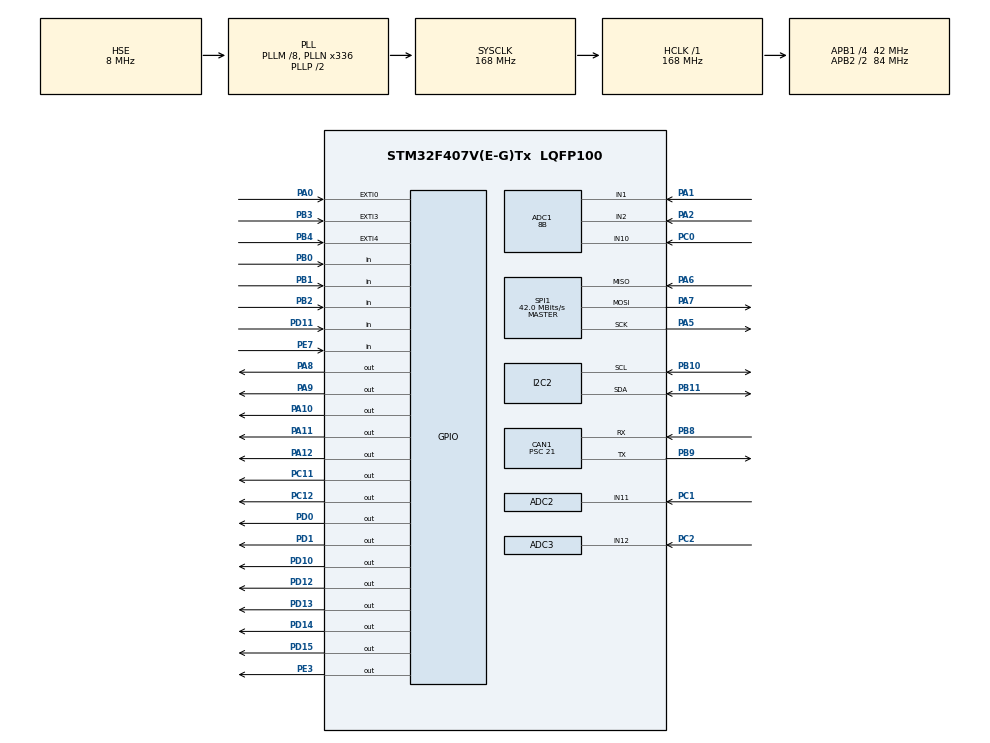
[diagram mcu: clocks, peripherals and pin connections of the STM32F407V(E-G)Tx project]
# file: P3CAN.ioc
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ADC1.Channel-0\#ChannelRegularConversion=ADC_CHANNEL_1
ADC1.ClockPrescaler=ADC_CLOCK_SYNC_PCLK_DIV4
ADC1.ContinuousConvMode=DISABLE
ADC1.DMAContinuousRequests=DISABLE
ADC1.DataAlign=ADC_DATAALIGN_RIGHT
ADC1.DiscontinuousConvMode=DISABLE
ADC1.EOCSelection=ADC_EOC_SINGLE_CONV
ADC1.EnableAnalogWatchDog=false
ADC1.ExternalTrigConv=ADC_SOFTWARE_START
ADC1.ExternalTrigConvEdge=ADC_EXTERNALTRIGCONVEDGE_NONE
ADC1.InjNumberOfConversion=0
ADC1.NbrOfConversion=1
ADC1.NbrOfConversionFlag=1
ADC1.Rank-0\#ChannelRegularConversion=1
ADC1.Resolution=ADC_RESOLUTION_8B
ADC1.SamplingTime-0\#ChannelRegularConversion=ADC_SAMPLETIME_28CYCLES
ADC1.ScanConvMode=DISABLE
ADC1.master=1
ADC2.Channel-0\#ChannelRegularConversion=ADC_CHANNEL_11
ADC2.NbrOfConversionFlag=1
ADC2.Rank-0\#ChannelRegularConversion=1
ADC2.SamplingTime-0\#ChannelRegularConversion=ADC_SAMPLETIME_3CYCLES
ADC3.Channel-0\#ChannelRegularConversion=ADC_CHANNEL_12
ADC3.NbrOfConversionFlag=1
ADC3.Rank-0\#ChannelRegularConversion=1
ADC3.SamplingTime-0\#ChannelRegularConversion=ADC_SAMPLETIME_3CYCLES
CAN1.BS1=CAN_BS1_12TQ
CAN1.BS2=CAN_BS2_4TQ
CAN1.CalculateTimeQuantum=500.0
CAN1.Prescaler=21
FREERTOS.INCLUDE_vTaskDelayUntil=1
FREERTOS.Mutexes01=mutex1,Dynamic,NULL
FREERTOS.Tasks01=Tarea1,0,128,StartTarea1,Default,NULL,Dynamic,NULL,NULL
Mcu.Family=STM32F4
Mcu.Name=STM32F407V(E-G)Tx
Mcu.Package=LQFP100
NVIC.CAN1_RX0_IRQn=true\:5\:0\:true\:false\:true\:true\:true
NVIC.EXTI0_IRQn=true\:0\:0\:true\:false\:true\:true\:true
NVIC.EXTI3_IRQn=true\:0\:0\:false\:false\:true\:false\:true
NVIC.I2C2_EV_IRQn=true\:0\:0\:false\:false\:true\:true\:true
NVIC.PriorityGroup=NVIC_PRIORITYGROUP_4
NVIC.TIM1_UP_TIM10_IRQn=true\:0\:0\:false\:false\:true\:false\:false
NVIC.TimeBase=TIM1_UP_TIM10_IRQn
NVIC.TimeBaseIP=TIM1
PA0-WKUP.Signal=GPXTI0
PA1.Signal=ADCx_IN1
PA10.Signal=GPIO_Output
PA11.Signal=GPIO_Output
PA12.Signal=GPIO_Output
PA2.Signal=ADCx_IN2
PA5.Mode=Full_Duplex_Master
PA5.Signal=SPI1_SCK
PA6.Mode=Full_Duplex_Master
PA6.Signal=SPI1_MISO
PA7.Mode=Full_Duplex_Master
PA7.Signal=SPI1_MOSI
PA8.Signal=GPIO_Output
PA9.Signal=GPIO_Output
PB0.Signal=GPIO_Input
PB1.Signal=GPIO_Input
PB10.Mode=I2C
PB10.Signal=I2C2_SCL
PB11.Mode=I2C
PB11.Signal=I2C2_SDA
PB2.Signal=GPIO_Input
PB3.Signal=GPXTI3
PB4.Signal=GPXTI4
PB8.Mode=Master
PB8.Signal=CAN1_RX
PB9.Mode=Master
PB9.Signal=CAN1_TX
PC0.Signal=ADCx_IN10
PC1.Signal=ADCx_IN11
PC11.Signal=GPIO_Output
PC12.Signal=GPIO_Output
PC2.Signal=ADCx_IN12
PD0.Signal=GPIO_Output
PD1.Signal=GPIO_Output
PD10.Signal=GPIO_Output
PD11.Signal=GPIO_Input
PD12.Signal=GPIO_Output
PD13.Signal=GPIO_Output
PD14.Signal=GPIO_Output
PD15.Signal=GPIO_Output
PE3.Signal=GPIO_Output
PE7.Signal=GPIO_Input
PH0-OSC_IN.Mode=HSE-External-Oscillator
PH0-OSC_IN.Signal=RCC_OSC_IN
PH1-OSC_OUT.Mode=HSE-External-Oscillator
PH1-OSC_OUT.Signal=RCC_OSC_OUT
ProjectManager.HeapSize=0x200
ProjectManager.StackSize=0x400
ProjectManager.TargetToolchain=MDK-ARM V5
RCC.48MHZClocksFreq_Value=48000000
RCC.AHBFreq_Value=168000000
RCC.APB1CLKDivider=RCC_HCLK_DIV4
RCC.APB1Freq_Value=42000000
RCC.APB1TimFreq_Value=84000000
RCC.APB2CLKDivider=RCC_HCLK_DIV2
RCC.APB2Freq_Value=84000000
RCC.APB2TimFreq_Value=168000000
RCC.CortexFreq_Value=168000000
RCC.HCLKFreq_Value=168000000
RCC.HSE_VALUE=8000000
RCC.HSI_VALUE=16000000
RCC.LSE_VALUE=32768
RCC.PLLM=8
RCC.PLLN=336
RCC.PLLQ=7
RCC.PLLSourceVirtual=RCC_PLLSOURCE_HSE
RCC.SYSCLKFreq_VALUE=168000000
RCC.SYSCLKSource=RCC_SYSCLKSOURCE_PLLCLK
RCC.VCOOutputFreq_Value=336000000
SH.ADCx_IN1.0=ADC1_IN1,IN1
SH.ADCx_IN10.0=ADC1_IN10,IN10
SH.ADCx_IN11.0=ADC2_IN11,IN11
SH.ADCx_IN12.0=ADC3_IN12,IN12
SH.ADCx_IN2.0=ADC1_IN2,IN2
SPI1.CalculateBaudRate=42.0 MBits/s
SPI1.Direction=SPI_DIRECTION_2LINES
SPI1.Mode=SPI_MODE_MASTER
SPI1.VirtualType=VM_MASTER
VP_FREERTOS_VS_ENABLE.Mode=Enabled
VP_SYS_VS_tim1.Mode=TIM1
board=STM32F4DISCOVERY

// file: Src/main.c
/* USER CODE BEGIN Header */
/**
  ******************************************************************************
  * @file           : main.c
  * @brief          : Main program body
  ******************************************************************************
  * This notice applies to any and all portions of this file
  * that are not between comment pairs USER CODE BEGIN and
  * USER CODE END. Other portions of this file, whether
  * inserted by the user or by software development tools
  * are owned by their respective copyright owners.
  *
  * Copyright (c) 2021 STMicroelectronics International N.V.
  * All rights reserved.
  *
  * Redistribution and use in source and binary forms, with or without
  * modification, are permitted, provided that the following conditions are met:
  *
  * 1. Redistribution of source code must retain the above copyright notice,
  *    this list of conditions and the following disclaimer.
  * 2. Redistributions in binary form must reproduce the above copyright notice,
  *    this list of conditions and the following disclaimer in the documentation
  *    and/or other materials provided with the distribution.
  * 3. Neither the name of STMicroelectronics nor the names of other
  *    contributors to this software may be used to endorse or promote products
  *    derived from this software without specific written permission.
  * 4. This software, including modifications and/or derivative works of this
  *    software, must execute solely and exclusively on microcontroller or
  *    microprocessor devices manufactured by or for STMicroelectronics.
  * 5. Redistribution and use of this software other than as permitted under
  *    this license is void and will automatically terminate your rights under
  *    this license.
  *
  * THIS SOFTWARE IS PROVIDED BY STMICROELECTRONICS AND CONTRIBUTORS "AS IS"
  * AND ANY EXPRESS, IMPLIED OR STATUTORY WARRANTIES, INCLUDING, BUT NOT
  * LIMITED TO, THE IMPLIED WARRANTIES OF MERCHANTABILITY, FITNESS FOR A
  * PARTICULAR PURPOSE AND NON-INFRINGEMENT OF THIRD PARTY INTELLECTUAL PROPERTY
  * RIGHTS ARE DISCLAIMED TO THE FULLEST EXTENT PERMITTED BY LAW. IN NO EVENT
  * SHALL STMICROELECTRONICS OR CONTRIBUTORS BE LIABLE FOR ANY DIRECT, INDIRECT,
  * INCIDENTAL, SPECIAL, EXEMPLARY, OR CONSEQUENTIAL DAMAGES (INCLUDING, BUT NOT
  * LIMITED TO, PROCUREMENT OF SUBSTITUTE GOODS OR SERVICES; LOSS OF USE, DATA,
  * OR PROFITS; OR BUSINESS INTERRUPTION) HOWEVER CAUSED AND ON ANY THEORY OF
  * LIABILITY, WHETHER IN CONTRACT, STRICT LIABILITY, OR TORT (INCLUDING
  * NEGLIGENCE OR OTHERWISE) ARISING IN ANY WAY OUT OF THE USE OF THIS SOFTWARE,
  * EVEN IF ADVISED OF THE POSSIBILITY OF SUCH DAMAGE.
  *
  ******************************************************************************
  */
/* USER CODE END Header */

#include "main.h"
#include "cmsis_os.h"
#include "adc.h"
#include "can.h"
#include "i2c.h"
#include "spi.h"
#include "gpio.h"
#include "acelerometro.h"

/* USER CODE BEGIN Includes */

#include "FreeRTOS.h"
#include "task.h"
#include <math.h>
#include <stdint.h>

/* USER CODE END Includes */

/* USER CODE BEGIN PTD */

  #define TRUE 1
  #define FALSE 0

/* USER CODE BEGIN Variables */

/*Prioridades de las Tareas Periodicas*/
#define PR_TAREA1_ALTITUD 1
#define PR_TAREA2_HORIZONTALIDAD 2
#define PR_TAREA3_MOTORES 3
#define PR_TAREA4_VIBRACIONES 4

/*Periodos de las tareas*/
#define T_TAREA1_ALTITUD 300
#define T_TAREA2_HORIZONTALIDAD 200
#define T_TAREA3_MOTORES 150
#define T_TAREA4_VIBRACIONES 350

#define MAX_ROTATION 10
#define MIN_ROTATION -10
#define T_TAREA_ALTITUD 300
#define ALTITUD_DESTINO 400

 /* USER CODE BEGIN RTOS_MUTEX */

   /*********************Semaforo 1*********************/ ;
   SemaphoreHandle_t Semaforo_1 = NULL;

	 /* Declarar aqu� las variables protegidas por el sem�foro 1 */
   double Altitud = 0; // Altitud
   double RX = 0; // Inclinacion eje X
   double RY = 0; // Inclinacion eje Y
	 int Lectura_ADC1 = 0; //Valor leido
	 double aX, aY, aZ = 0;
   /* Tarea y mutex creados con CMSIS
   osThreadId Tarea1Handle;
   osMutexId mutex1Handle; */

/* USER CODE BEGIN FunctionPrototypes */
   void EncenderMotores(void const * argument);
	 void TareaLeerHorizontabilidad(void const * argument);
	 void TareaAltitud(void const * argument);
	 void TareaVibraciones(void const * argument);

/* Variables para depuracion */
   int ContTarea1 = 0;
	 int ContTarea2 = 0;
	 int enciende_motor_1 = 0;
	 int enciende_motor_2 = 0;
	 int enciende_motor_3 = 0;
	 int enciende_motor_4 = 0;
/*Señales*/
	 int signal_altitud_perdida = 0;
	 int signal_inclinación_x_plus = 0;
	 int signal_inclinación_x_minus = 0;
	 int signal_inclinación_y_plus = 0;
	 int signal_inclinación_y_minus = 0;
	 int signal_start = 0;
	 int signal_wait = 0;
	 int risk = 0;
	 int recover = 0;

/* USER CODE BEGIN StartTarea1 */

/* USER CODE END FunctionPrototypes */

void SystemClock_Config(void);

int main(void)
{
  /* Reset of all peripherals, Initializes the Flash interface and the Systick. */
  HAL_Init();

  /* Configure the system clock */
  SystemClock_Config();

  /* Initialize all configured peripherals */
  MX_GPIO_Init();
  MX_ADC1_Init();
  MX_SPI1_Init();
  MX_CAN1_Init();
  MX_ADC2_Init();
  MX_ADC3_Init();
  MX_I2C2_Init();

  /* USER CODE BEGIN Init */
  Inicializa_Acelerometro();
  /* USER CODE END Init */

  /* Create the mutex using CMSIS
  osMutexDef(mutex1);
  mutex1Handle = osMutexCreate(osMutex(mutex1)); */

  /* Create the thread using CMSIS
  osThreadDef(Tarea1, StartTarea1, osPriorityNormal, 0, 128);
  Tarea1Handle = osThreadCreate(osThread(Tarea1), NULL); */

  /* USER CODE BEGIN RTOS_THREADS using FreeRTOS */
	xTaskCreate(TareaAltitud, "Comprobar horizontabilidad", configMINIMAL_STACK_SIZE, NULL, PR_TAREA1_ALTITUD, NULL);
  xTaskCreate(TareaLeerHorizontabilidad, "Comprobar horizontabilidad", configMINIMAL_STACK_SIZE, NULL, PR_TAREA2_HORIZONTALIDAD, NULL);
  xTaskCreate(EncenderMotores, "Encender motores", configMINIMAL_STACK_SIZE, NULL, PR_TAREA3_MOTORES, NULL);

  /* Start scheduler */
  osKernelStart();

  /* We should never get here as control is now taken by the scheduler */
  while (1) {
  }

}   /* main END */

/* USER CODE StartTarea1 */

void EncenderMotores(void const * argument)
{
  /* USER CODE BEGIN StartTarea1 */

	 TickType_t lastWakeTime;
   lastWakeTime = xTaskGetTickCount();

	 /*HAL_GPIO_WritePin(GPIOD, GPIO_PIN_12, GPIO_PIN_RESET);
	 HAL_GPIO_WritePin(GPIOD, GPIO_PIN_13, GPIO_PIN_RESET);
	 HAL_GPIO_WritePin(GPIOD, GPIO_PIN_14, GPIO_PIN_RESET);
	 HAL_GPIO_WritePin(GPIOD, GPIO_PIN_15, GPIO_PIN_SET);	*/

  /* Infinite loop */
  for(;;)
  {

		if(signal_altitud_perdida == 0){
			HAL_GPIO_WritePin(GPIOD, GPIO_PIN_13, GPIO_PIN_RESET);
			HAL_GPIO_WritePin(GPIOD, GPIO_PIN_15, GPIO_PIN_RESET);
			HAL_GPIO_WritePin(GPIOD, GPIO_PIN_12, GPIO_PIN_RESET);
			HAL_GPIO_WritePin(GPIOD, GPIO_PIN_14, GPIO_PIN_RESET);
		}
		if(signal_inclinación_x_plus == 1){
			HAL_GPIO_WritePin(GPIOD, GPIO_PIN_13, GPIO_PIN_SET);
		} else{
			HAL_GPIO_WritePin(GPIOD, GPIO_PIN_13, GPIO_PIN_RESET);
		}
		if(signal_inclinación_x_minus == 1)
		{
			HAL_GPIO_WritePin(GPIOD, GPIO_PIN_15, GPIO_PIN_SET);
		}else{
			HAL_GPIO_WritePin(GPIOD, GPIO_PIN_15, GPIO_PIN_RESET);
		}
		if(signal_inclinación_y_plus  == 1)
		{
			HAL_GPIO_WritePin(GPIOD, GPIO_PIN_12, GPIO_PIN_SET);
		}else{
			HAL_GPIO_WritePin(GPIOD, GPIO_PIN_12, GPIO_PIN_RESET);
		}
		if(signal_inclinación_y_minus  == 1)
		{
			HAL_GPIO_WritePin(GPIOD, GPIO_PIN_14, GPIO_PIN_SET);
		}else{
			HAL_GPIO_WritePin(GPIOD, GPIO_PIN_14, GPIO_PIN_RESET);
		}

		if(signal_altitud_perdida == 1){
			HAL_GPIO_WritePin(GPIOD, GPIO_PIN_13, GPIO_PIN_SET);
			HAL_GPIO_WritePin(GPIOD, GPIO_PIN_15, GPIO_PIN_SET);
			HAL_GPIO_WritePin(GPIOD, GPIO_PIN_12, GPIO_PIN_SET);
			HAL_GPIO_WritePin(GPIOD, GPIO_PIN_14, GPIO_PIN_SET);
		}

		/*
		if(enciende_motor_1 == 1)
		{
			HAL_GPIO_WritePin(GPIOD, GPIO_PIN_13, GPIO_PIN_SET);
	  }else{
			HAL_GPIO_WritePin(GPIOD, GPIO_PIN_13, GPIO_PIN_RESET);
		}
		if(enciende_motor_2 == 1)
		{
			HAL_GPIO_WritePin(GPIOD, GPIO_PIN_15, GPIO_PIN_SET);
	  }else{
			HAL_GPIO_WritePin(GPIOD, GPIO_PIN_15, GPIO_PIN_RESET);
		}
		if(enciende_motor_3 == 1)
		{
			HAL_GPIO_WritePin(GPIOD, GPIO_PIN_12, GPIO_PIN_SET);
	  }else{
			HAL_GPIO_WritePin(GPIOD, GPIO_PIN_12, GPIO_PIN_RESET);
		}
		if(enciende_motor_4 == 1)
		{
			HAL_GPIO_WritePin(GPIOD, GPIO_PIN_14, GPIO_PIN_SET);
	  }else{
			HAL_GPIO_WritePin(GPIOD, GPIO_PIN_14, GPIO_PIN_RESET);
		}
		*/

		ContTarea1 ++;
    // osDelay(1);
		vTaskDelayUntil(&lastWakeTime, pdMS_TO_TICKS(T_TAREA1_ALTITUD));
  }
  /* USER CODE END 5 */

  /* USER CODE END StartTarea1 */
}

void TareaLeerHorizontabilidad(void const * argument)
{
	double rotationX = 0;
	double rotationY = 0;

	TickType_t lastWakeTime;
  lastWakeTime = xTaskGetTickCount();

  /* Infinite loop */
  for(;;)
  {
		rotationX = Calculate_RotationX();
		rotationY = Calculate_RotationY();

		if (rotationX > MAX_ROTATION){
			signal_inclinación_x_plus = 1;
			signal_inclinación_x_minus = 0;
		}
		else if (rotationX < MIN_ROTATION){
			signal_inclinación_x_minus = 1;
			signal_inclinación_x_plus = 0;
		}
		else{
			signal_inclinación_x_minus = 0;
			signal_inclinación_x_plus = 0;
		}

		if (rotationY > MAX_ROTATION) {
			signal_inclinación_y_minus = 0;
			signal_inclinación_y_plus = 1;
		}
		else if (rotationY < MIN_ROTATION) {
			signal_inclinación_y_minus = 1;
			signal_inclinación_y_plus = 0;
		}
		else {
			signal_inclinación_y_minus = 0;
			signal_inclinación_y_plus = 0;
		}
		ContTarea2 ++;
    // osDelay(1);
		vTaskDelayUntil(&lastWakeTime, pdMS_TO_TICKS(T_TAREA2_HORIZONTALIDAD));
  }
  /* USER CODE END 5 */

  /* USER CODE END StartTarea1 */
}

void TareaAltitud(void const * argument)
{
	TickType_t xLastWakeTime;

	/* Inicializa canal 1 del ADC1 */
	ADC_ChannelConfTypeDef sConfigN = {0}; // Variable local en la tarea
	sConfigN.Channel = ADC_CHANNEL_1; // selecciona el canal 1
	sConfigN.Rank = 1;
	sConfigN.SamplingTime = ADC_SAMPLETIME_28CYCLES;
	HAL_ADC_ConfigChannel(&hadc1, &sConfigN); // configura ADC1-Canal_1
	for(;;)
	{// Activación de la lectura
		xLastWakeTime = xTaskGetTickCount();
		HAL_ADC_Start(&hadc1); // comienza la conversón AD
		if(HAL_ADC_PollForConversion(&hadc1, 5) == HAL_OK){
			Lectura_ADC1 = HAL_ADC_GetValue(&hadc1); // leemos el valor
			Altitud = Lectura_ADC1; // actualizamos una variable global
			if (Altitud < ALTITUD_DESTINO - 2 ){
				signal_altitud_perdida = 1;

			}
			else{
				signal_altitud_perdida = 0;
			}
		}
		vTaskDelayUntil( &xLastWakeTime, pdMS_TO_TICKS( T_TAREA_ALTITUD ));
	}
} // fin de TareaN

void TareaVibraciones(void const * argument)
{
	int UltimaAltitud = 2147483647;
	int diff = 0;
	TickType_t xLastWakeTime;

	double lastX, lastY, lastZ, currentX, currentY, currentZ;
	int counter = 0;
  RefreshAcc(&lastX , &lastY, &lastZ);
	for(;;)
	{
		RefreshAcc(&currentX, &currentY, &currentZ);
	}
}

void SystemClock_Config(void)
{
  RCC_OscInitTypeDef RCC_OscInitStruct = {0};
  RCC_ClkInitTypeDef RCC_ClkInitStruct = {0};

  /**Configure the main internal regulator output voltage
  */
  __HAL_RCC_PWR_CLK_ENABLE();
  __HAL_PWR_VOLTAGESCALING_CONFIG(PWR_REGULATOR_VOLTAGE_SCALE1);
  /**Initializes the CPU, AHB and APB busses clocks
  */
  RCC_OscInitStruct.OscillatorType = RCC_OSCILLATORTYPE_HSE;
  RCC_OscInitStruct.HSEState = RCC_HSE_ON;
  RCC_OscInitStruct.PLL.PLLState = RCC_PLL_ON;
  RCC_OscInitStruct.PLL.PLLSource = RCC_PLLSOURCE_HSE;
  RCC_OscInitStruct.PLL.PLLM = 8;
  RCC_OscInitStruct.PLL.PLLN = 336;
  RCC_OscInitStruct.PLL.PLLP = RCC_PLLP_DIV2;
  RCC_OscInitStruct.PLL.PLLQ = 7;
  if (HAL_RCC_OscConfig(&RCC_OscInitStruct) != HAL_OK)
  {
    Error_Handler();
  }
  /**Initializes the CPU, AHB and APB busses clocks
  */
  RCC_ClkInitStruct.ClockType = RCC_CLOCKTYPE_HCLK|RCC_CLOCKTYPE_SYSCLK
                              |RCC_CLOCKTYPE_PCLK1|RCC_CLOCKTYPE_PCLK2;
  RCC_ClkInitStruct.SYSCLKSource = RCC_SYSCLKSOURCE_PLLCLK;
  RCC_ClkInitStruct.AHBCLKDivider = RCC_SYSCLK_DIV1;
  RCC_ClkInitStruct.APB1CLKDivider = RCC_HCLK_DIV4;
  RCC_ClkInitStruct.APB2CLKDivider = RCC_HCLK_DIV2;

  if (HAL_RCC_ClockConfig(&RCC_ClkInitStruct, FLASH_LATENCY_5) != HAL_OK)
  {
    Error_Handler();
  }
}

void HAL_TIM_PeriodElapsedCallback(TIM_HandleTypeDef *htim)
{
  if (htim->Instance == TIM1) {
    HAL_IncTick();
  }
}

void Error_Handler(void)
{
}

/************************ (C) COPYRIGHT STMicroelectronics *****END OF FILE****/
